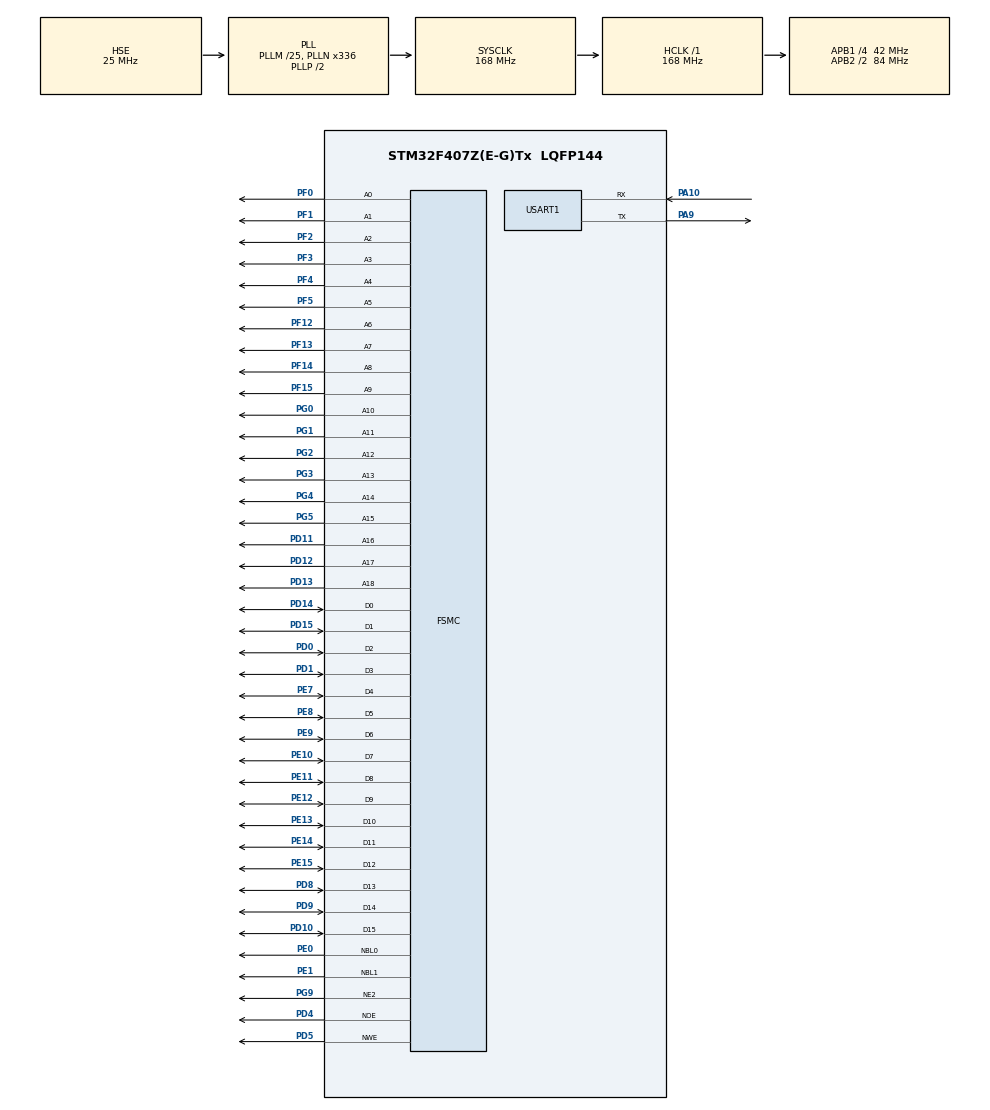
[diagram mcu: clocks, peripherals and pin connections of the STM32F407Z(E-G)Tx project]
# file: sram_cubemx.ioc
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FSMC.AddressSetupTime1=5
FSMC.BusTurnAroundDuration1=3
FSMC.DataSetupTime1=5
FSMC.WriteOperation1=FSMC_WRITE_OPERATION_ENABLE
Mcu.Family=STM32F4
Mcu.Name=STM32F407Z(E-G)Tx
Mcu.Package=LQFP144
NVIC.PriorityGroup=NVIC_PRIORITYGROUP_4
PA10.Mode=Asynchronous
PA10.Signal=USART1_RX
PA9.Mode=Asynchronous
PA9.Signal=USART1_TX
PD0.Signal=FSMC_D2_DA2
PD1.Signal=FSMC_D3_DA3
PD10.Signal=FSMC_D15_DA15
PD11.Signal=FSMC_A16_CLE
PD12.Signal=FSMC_A17_ALE
PD13.Signal=FSMC_A18
PD14.Signal=FSMC_D0_DA0
PD15.Signal=FSMC_D1_DA1
PD4.Signal=FSMC_NOE
PD5.Signal=FSMC_NWE
PD8.Signal=FSMC_D13_DA13
PD9.Signal=FSMC_D14_DA14
PE0.Signal=FSMC_NBL0
PE1.Signal=FSMC_NBL1
PE10.Signal=FSMC_D7_DA7
PE11.Signal=FSMC_D8_DA8
PE12.Signal=FSMC_D9_DA9
PE13.Signal=FSMC_D10_DA10
PE14.Signal=FSMC_D11_DA11
PE15.Signal=FSMC_D12_DA12
PE7.Signal=FSMC_D4_DA4
PE8.Signal=FSMC_D5_DA5
PE9.Signal=FSMC_D6_DA6
PF0.Signal=FSMC_A0
PF1.Signal=FSMC_A1
PF12.Signal=FSMC_A6
PF13.Signal=FSMC_A7
PF14.Signal=FSMC_A8
PF15.Signal=FSMC_A9
PF2.Signal=FSMC_A2
PF3.Signal=FSMC_A3
PF4.Signal=FSMC_A4
PF5.Signal=FSMC_A5
PG0.Signal=FSMC_A10
PG1.Signal=FSMC_A11
PG2.Signal=FSMC_A12
PG3.Signal=FSMC_A13
PG4.Signal=FSMC_A14
PG5.Signal=FSMC_A15
PG9.Mode=NorPsramChipSelect2_1
PG9.Signal=FSMC_NE2
PH0-OSC_IN.Mode=HSE-External-Oscillator
PH0-OSC_IN.Signal=RCC_OSC_IN
PH1-OSC_OUT.Mode=HSE-External-Oscillator
PH1-OSC_OUT.Signal=RCC_OSC_OUT
ProjectManager.HeapSize=0x200
ProjectManager.StackSize=0x400
ProjectManager.TargetToolchain=STM32CubeIDE
RCC.48MHZClocksFreq_Value=84000000
RCC.AHBFreq_Value=168000000
RCC.APB1CLKDivider=RCC_HCLK_DIV4
RCC.APB1Freq_Value=42000000
RCC.APB1TimFreq_Value=84000000
RCC.APB2CLKDivider=RCC_HCLK_DIV2
RCC.APB2Freq_Value=84000000
RCC.APB2TimFreq_Value=168000000
RCC.CortexFreq_Value=168000000
RCC.HCLKFreq_Value=168000000
RCC.HSE_VALUE=25000000
RCC.HSI_VALUE=16000000
RCC.LSE_VALUE=32768
RCC.PLLM=25
RCC.PLLN=336
RCC.PLLSourceVirtual=RCC_PLLSOURCE_HSE
RCC.SYSCLKFreq_VALUE=168000000
RCC.SYSCLKSource=RCC_SYSCLKSOURCE_PLLCLK
RCC.VCOOutputFreq_Value=336000000
SH.FSMC_A0.0=FSMC_A0,19b-a1
SH.FSMC_A1.0=FSMC_A1,19b-a1
SH.FSMC_A10.0=FSMC_A10,19b-a1
SH.FSMC_A11.0=FSMC_A11,19b-a1
SH.FSMC_A12.0=FSMC_A12,19b-a1
SH.FSMC_A13.0=FSMC_A13,19b-a1
SH.FSMC_A14.0=FSMC_A14,19b-a1
SH.FSMC_A15.0=FSMC_A15,19b-a1
SH.FSMC_A16_CLE.0=FSMC_A16,19b-a1
SH.FSMC_A17_ALE.0=FSMC_A17,19b-a1
SH.FSMC_A18.0=FSMC_A18,19b-a1
SH.FSMC_A2.0=FSMC_A2,19b-a1
SH.FSMC_A3.0=FSMC_A3,19b-a1
SH.FSMC_A4.0=FSMC_A4,19b-a1
SH.FSMC_A5.0=FSMC_A5,19b-a1
SH.FSMC_A6.0=FSMC_A6,19b-a1
SH.FSMC_A7.0=FSMC_A7,19b-a1
SH.FSMC_A8.0=FSMC_A8,19b-a1
SH.FSMC_A9.0=FSMC_A9,19b-a1
SH.FSMC_D0_DA0.0=FSMC_D0,16b-d1
SH.FSMC_D10_DA10.0=FSMC_D10,16b-d1
SH.FSMC_D11_DA11.0=FSMC_D11,16b-d1
SH.FSMC_D12_DA12.0=FSMC_D12,16b-d1
SH.FSMC_D13_DA13.0=FSMC_D13,16b-d1
SH.FSMC_D14_DA14.0=FSMC_D14,16b-d1
SH.FSMC_D15_DA15.0=FSMC_D15,16b-d1
SH.FSMC_D1_DA1.0=FSMC_D1,16b-d1
SH.FSMC_D2_DA2.0=FSMC_D2,16b-d1
SH.FSMC_D3_DA3.0=FSMC_D3,16b-d1
SH.FSMC_D4_DA4.0=FSMC_D4,16b-d1
SH.FSMC_D5_DA5.0=FSMC_D5,16b-d1
SH.FSMC_D6_DA6.0=FSMC_D6,16b-d1
SH.FSMC_D7_DA7.0=FSMC_D7,16b-d1
SH.FSMC_D8_DA8.0=FSMC_D8,16b-d1
SH.FSMC_D9_DA9.0=FSMC_D9,16b-d1
SH.FSMC_NBL0.0=FSMC_NBL0,2ByteEnable1
SH.FSMC_NBL1.0=FSMC_NBL1,2ByteEnable1
SH.FSMC_NOE.0=FSMC_NOE,Sram1
SH.FSMC_NWE.0=FSMC_NWE,Sram1
USART1.VirtualMode=VM_ASYNC
board=custom

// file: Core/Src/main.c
/* USER CODE BEGIN Header */
/**
  ******************************************************************************
  * @file           : main.c
  * @brief          : Main program body
  ******************************************************************************
  * @attention
  *
  * Copyright (c) 2026 STMicroelectronics.
  * All rights reserved.
  *
  * This software is licensed under terms that can be found in the LICENSE file
  * in the root directory of this software component.
  * If no LICENSE file comes with this software, it is provided AS-IS.
  *
  ******************************************************************************
  */
/* USER CODE END Header */
#include "main.h"

UART_HandleTypeDef huart1;

SRAM_HandleTypeDef hsram1;

void SystemClock_Config(void);
static void MX_GPIO_Init(void);
static void MX_FSMC_Init(void);
static void MX_USART1_UART_Init(void);

/* USER CODE BEGIN 0 */
#define hUART           huart1
int _write( int32_t file , uint8_t *ptr , int32_t len )
{
    /* Implement your write code here, this is used by puts and printf for example */
    for ( int16_t i = 0 ; i < len ; ++i )
    {
        HAL_UART_Transmit( &hUART, ptr++, 1, 100);
    }
    return len;
}

#define BUFFER_SIZE         ((uint32_t)0x0100)
#define WRITE_READ_ADDR     ((uint32_t)0x0800)

/* Exported types ------------------------------------------------------------*/
typedef enum {FAILED = 0, PASSED = !FAILED} TestStatus;

/* Exported constants --------------------------------------------------------*/
#define SRAM_BANK_ADDR                 ((uint32_t)0x64000000)

/* Read/Write Buffers */
uint16_t aTxBuffer[BUFFER_SIZE];
uint16_t aRxBuffer[BUFFER_SIZE];

/* Status variables */
__IO uint32_t uwWriteReadStatus = 0;

/* Counter index */
uint32_t uwIndex = 0;

/* functions */

static void Fill_Buffer(uint16_t *pBuffer, uint32_t uwBufferLenght, uint16_t uwOffset);
static TestStatus Buffercmp(uint16_t *pBuffer1, uint16_t *pBuffer2, uint16_t BufferLength);

/**
  * @brief  Fills buffer with user predefined data.
  * @param  pBuffer: pointer on the buffer to fill
  * @param  uwBufferLenght: size of the buffer to fill
  * @param  uwOffset: first value to fill on the buffer
  * @retval None
  */
static void Fill_Buffer(uint16_t *pBuffer, uint32_t uwBufferLenght, uint16_t uwOffset)
{
  uint16_t tmpIndex = 0;

  /* Put in global buffer different values */
  for (tmpIndex = 0; tmpIndex < uwBufferLenght; tmpIndex++ )
  {
    pBuffer[tmpIndex] = tmpIndex + uwOffset;
  }
}

/**
  * @brief  Compares two buffers.
  * @param  pBuffer1, pBuffer2: buffers to be compared.
  * @param  BufferLength: buffer's length
  * @retval PASSED: pBuffer identical to pBuffer1
  *         FAILED: pBuffer differs from pBuffer1
  */
static TestStatus Buffercmp(uint16_t* pBuffer1, uint16_t* pBuffer2, uint16_t BufferLength)
{
    int count = 0;
    while(BufferLength--)
    {
        if(*pBuffer1 != *pBuffer2)
        {
            printf("Data Diff, pBuffer1: 0x%04X, pBuffer2: 0x%04X\r\n", * pBuffer1, * pBuffer2);
            return FAILED;
        }

        printf("Count: %d, Data is same.\r\n", ++count);

        pBuffer1++;
        pBuffer2++;
    }

    return PASSED;
}

void SRAM_Test(void)
{
    /*##-2- SRAM memory read/write access ######################################*/
    /* Fill the buffer to write */
    Fill_Buffer(aTxBuffer, BUFFER_SIZE, 0xC20F);

    /* Write data to the SRAM memory */
    for (uwIndex = 0; uwIndex < BUFFER_SIZE; uwIndex++)
    {
        *(__IO uint16_t*) (SRAM_BANK_ADDR + WRITE_READ_ADDR + 2*uwIndex) = aTxBuffer[uwIndex];
    }

    /* Read back data from the SRAM memory */
    for (uwIndex = 0; uwIndex < BUFFER_SIZE; uwIndex++)
    {
        aRxBuffer[uwIndex] = *(__IO uint16_t*) (SRAM_BANK_ADDR + WRITE_READ_ADDR + 2*uwIndex);
    }

    /*##-3- Checking data integrity ############################################*/
    uwWriteReadStatus = Buffercmp(aTxBuffer, aRxBuffer, BUFFER_SIZE);

    if (uwWriteReadStatus != PASSED)
    {
        printf("Test NOT ok.\r\n");
    }
    else
    {
        printf("Test OK.\r\n");
    }
}
/* USER CODE END 0 */

int main(void)
{

  /* MCU Configuration--------------------------------------------------------*/

  /* Reset of all peripherals, Initializes the Flash interface and the Systick. */
  HAL_Init();

  /* Configure the system clock */
  SystemClock_Config();

  /* Initialize all configured peripherals */
  MX_GPIO_Init();
  MX_FSMC_Init();
  MX_USART1_UART_Init();
  /* USER CODE BEGIN 2 */

  HAL_Delay(1000);
  /* USER CODE END 2 */

  /* Infinite loop */
  /* USER CODE BEGIN WHILE */
  while (1)
  {
	  SRAM_Test();
	  HAL_Delay(1000);
	  /* USER CODE END WHILE */

  }
}

void SystemClock_Config(void)
{
  RCC_OscInitTypeDef RCC_OscInitStruct = {0};
  RCC_ClkInitTypeDef RCC_ClkInitStruct = {0};

  /** Configure the main internal regulator output voltage
  */
  __HAL_RCC_PWR_CLK_ENABLE();
  __HAL_PWR_VOLTAGESCALING_CONFIG(PWR_REGULATOR_VOLTAGE_SCALE1);

  /** Initializes the RCC Oscillators according to the specified parameters
  * in the RCC_OscInitTypeDef structure.
  */
  RCC_OscInitStruct.OscillatorType = RCC_OSCILLATORTYPE_HSE;
  RCC_OscInitStruct.HSEState = RCC_HSE_ON;
  RCC_OscInitStruct.PLL.PLLState = RCC_PLL_ON;
  RCC_OscInitStruct.PLL.PLLSource = RCC_PLLSOURCE_HSE;
  RCC_OscInitStruct.PLL.PLLM = 25;
  RCC_OscInitStruct.PLL.PLLN = 336;
  RCC_OscInitStruct.PLL.PLLP = RCC_PLLP_DIV2;
  RCC_OscInitStruct.PLL.PLLQ = 4;
  if (HAL_RCC_OscConfig(&RCC_OscInitStruct) != HAL_OK)
  {
    Error_Handler();
  }

  /** Initializes the CPU, AHB and APB buses clocks
  */
  RCC_ClkInitStruct.ClockType = RCC_CLOCKTYPE_HCLK|RCC_CLOCKTYPE_SYSCLK
                              |RCC_CLOCKTYPE_PCLK1|RCC_CLOCKTYPE_PCLK2;
  RCC_ClkInitStruct.SYSCLKSource = RCC_SYSCLKSOURCE_PLLCLK;
  RCC_ClkInitStruct.AHBCLKDivider = RCC_SYSCLK_DIV1;
  RCC_ClkInitStruct.APB1CLKDivider = RCC_HCLK_DIV4;
  RCC_ClkInitStruct.APB2CLKDivider = RCC_HCLK_DIV2;

  if (HAL_RCC_ClockConfig(&RCC_ClkInitStruct, FLASH_LATENCY_5) != HAL_OK)
  {
    Error_Handler();
  }
}

static void MX_USART1_UART_Init(void)
{

  huart1.Instance = USART1;
  huart1.Init.BaudRate = 115200;
  huart1.Init.WordLength = UART_WORDLENGTH_8B;
  huart1.Init.StopBits = UART_STOPBITS_1;
  huart1.Init.Parity = UART_PARITY_NONE;
  huart1.Init.Mode = UART_MODE_TX_RX;
  huart1.Init.HwFlowCtl = UART_HWCONTROL_NONE;
  huart1.Init.OverSampling = UART_OVERSAMPLING_16;
  if (HAL_UART_Init(&huart1) != HAL_OK)
  {
    Error_Handler();
  }

}

static void MX_GPIO_Init(void)
{

  /* GPIO Ports Clock Enable */
  __HAL_RCC_GPIOF_CLK_ENABLE();
  __HAL_RCC_GPIOH_CLK_ENABLE();
  __HAL_RCC_GPIOG_CLK_ENABLE();
  __HAL_RCC_GPIOE_CLK_ENABLE();
  __HAL_RCC_GPIOD_CLK_ENABLE();
  __HAL_RCC_GPIOA_CLK_ENABLE();

}

/* FSMC initialization function */
static void MX_FSMC_Init(void)
{

  FSMC_NORSRAM_TimingTypeDef Timing = {0};

  /** Perform the SRAM1 memory initialization sequence
  */
  hsram1.Instance = FSMC_NORSRAM_DEVICE;
  hsram1.Extended = FSMC_NORSRAM_EXTENDED_DEVICE;
  /* hsram1.Init */
  hsram1.Init.NSBank = FSMC_NORSRAM_BANK2;
  hsram1.Init.DataAddressMux = FSMC_DATA_ADDRESS_MUX_DISABLE;
  hsram1.Init.MemoryType = FSMC_MEMORY_TYPE_SRAM;
  hsram1.Init.MemoryDataWidth = FSMC_NORSRAM_MEM_BUS_WIDTH_16;
  hsram1.Init.BurstAccessMode = FSMC_BURST_ACCESS_MODE_DISABLE;
  hsram1.Init.WaitSignalPolarity = FSMC_WAIT_SIGNAL_POLARITY_LOW;
  hsram1.Init.WrapMode = FSMC_WRAP_MODE_DISABLE;
  hsram1.Init.WaitSignalActive = FSMC_WAIT_TIMING_BEFORE_WS;
  hsram1.Init.WriteOperation = FSMC_WRITE_OPERATION_ENABLE;
  hsram1.Init.WaitSignal = FSMC_WAIT_SIGNAL_DISABLE;
  hsram1.Init.ExtendedMode = FSMC_EXTENDED_MODE_DISABLE;
  hsram1.Init.AsynchronousWait = FSMC_ASYNCHRONOUS_WAIT_DISABLE;
  hsram1.Init.WriteBurst = FSMC_WRITE_BURST_DISABLE;
  hsram1.Init.PageSize = FSMC_PAGE_SIZE_NONE;
  /* Timing */
  Timing.AddressSetupTime = 5;
  Timing.AddressHoldTime = 15;
  Timing.DataSetupTime = 5;
  Timing.BusTurnAroundDuration = 3;
  Timing.CLKDivision = 16;
  Timing.DataLatency = 17;
  Timing.AccessMode = FSMC_ACCESS_MODE_A;
  /* ExtTiming */

  if (HAL_SRAM_Init(&hsram1, &Timing, NULL) != HAL_OK)
  {
    Error_Handler( );
  }

}

void Error_Handler(void)
{
  __disable_irq();
  while (1)
  {
  }
}
